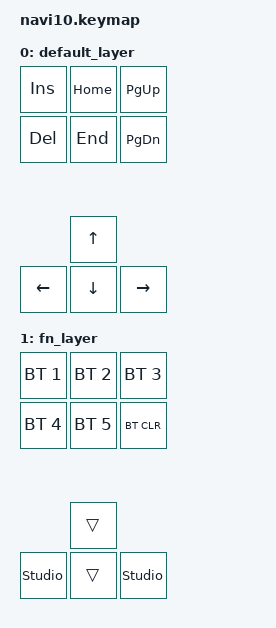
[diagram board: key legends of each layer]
// This file was generated from a template. Edit it to match your keyboard.
// See https://zmk.dev/docs/development/hardware-integration/new-shield for more instructions.

#include <behaviors.dtsi>
#include <dt-bindings/zmk/bt.h>
#include <dt-bindings/zmk/keys.h>
#include <dt-bindings/zmk/outputs.h>

/ {
    // Define a default keymap here.
    // See https://zmk.dev/docs/development/hardware-integration/new-shield#default-keymap.
    keymap {
        compatible = "zmk,keymap";

        default_layer {
            bindings = <
                &kp INS     &kp HOME    &kp PG_UP
                &kp DEL     &kp END     &kp PG_DN
                            &kp UP
                &kp LEFT    &kp DOWN    &kp RIGHT
            >;
        };
        fn_layer {
            bindings = <
                &bt BT_SEL 1      &bt BT_SEL 2    &bt BT_SEL 3
                &bt BT_SEL 4      &bt BT_SEL 5    &bt BT_CLR
                                  &trans
                &studio_unlock    &trans          &studio_unlock
            >;
        };
    };
    combos {
        compatible = "zmk,combos";
        combo_fn {
            timeout-ms = <50>;
            key-positions = <6 8>;
            bindings = <&mo 1>;
            require-prior-idle-ms = <500>;
        };
    };
 };
